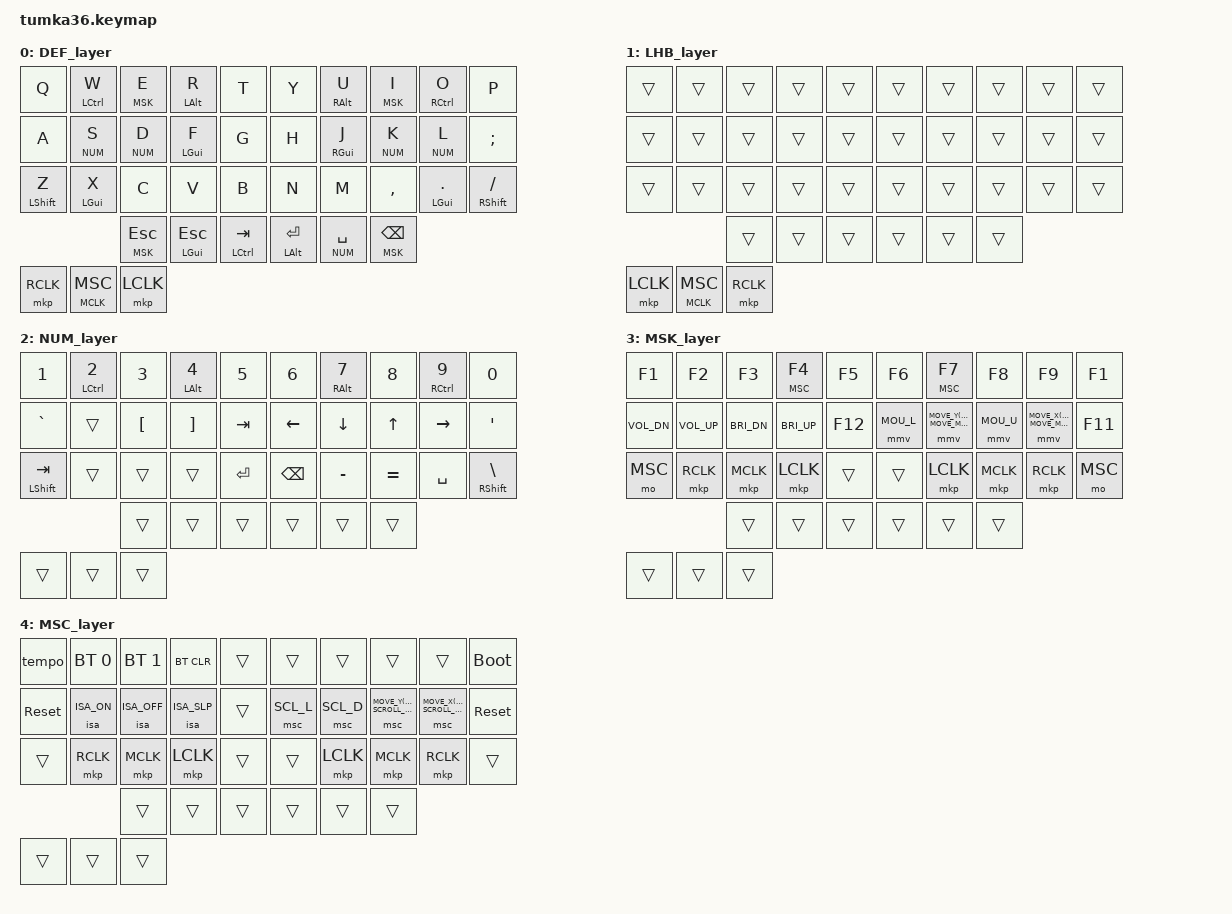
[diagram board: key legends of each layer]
/*
 * Copyright (c) 2020 The ZMK Contributors
 *
 * SPDX-License-Identifier: MIT
 */

#include <zephyr/dt-bindings/input/input-event-codes.h>

#include <behaviors.dtsi>
#include <behaviors/mouse_keys.dtsi>
#include <behaviors/mouse_key_press.dtsi>
#include <behaviors/mouse_key_toggle.dtsi>
#include <dt-bindings/zmk/keys.h>
#include <dt-bindings/zmk/bt.h>
#include <dt-bindings/zmk/rgb.h>
#include <dt-bindings/zmk/ext_power.h>
#include <dt-bindings/zmk/outputs.h>
#include <dt-bindings/zmk/mouse.h>
#include <dt-bindings/zmk/input_transform.h>

#include <behaviors/tempo.dtsi>
#include <behaviors/insomnia.dtsi>
#include <dt-bindings/zmk/insomnia.h>

#define DEF 0
#define LHB 1
#define NUM 2
#define MSK 3
#define MSC 4

#ifndef MOVE_Y
#define MOVE_Y(n) (0)
#endif
#ifndef MOVE_X
#define MOVE_X(n) (0)
#endif

#define U_MOUSE_MOVE_MAX 1700
#define MOU_U MOVE_Y(-U_MOUSE_MOVE_MAX)
#define MOU_D MOVE_Y(U_MOUSE_MOVE_MAX)
#define MOU_L MOVE_X(-U_MOUSE_MOVE_MAX)
#define MOU_R MOVE_X(U_MOUSE_MOVE_MAX)

#define U_MOUSE_SCROLL_MAX 20
#define SCL_U MOVE_Y(U_MOUSE_SCROLL_MAX)
#define SCL_D MOVE_Y(-U_MOUSE_SCROLL_MAX)
#define SCL_L MOVE_X(-U_MOUSE_SCROLL_MAX)
#define SCL_R MOVE_X(U_MOUSE_SCROLL_MAX)

/ {
        //   0   1   2   3   4     5   6   7   8   9
        //  10  11  12  13  14    15  16  17  18  19
        //  20  21  22  23  24    25  26  27  28  29
        //          30  31  32    33  34  35
        //  36 37 38
        combos {
                compatible = "zmk,combos";

                q   { timeout-ms = <80>; key-positions = <1 2>; bindings = <&kp Q>; layers = <DEF LHB>; };
                t   { timeout-ms = <70>; key-positions = <2 3>; bindings = <&kp T>; layers = <DEF LHB>; };
                g   { timeout-ms = <60>; key-positions = <12 13>; bindings = <&kp G>; layers = <DEF LHB>; };
                b   { timeout-ms = <60>; key-positions = <22 23>; bindings = <&kp B>; layers = <DEF LHB>; };
                b_d { timeout-ms = <70>; key-positions = <2 13>; bindings = <&kp B>; layers = <DEF LHB>; };
                b_v { timeout-ms = <60>; key-positions = <23 13>; bindings = <&kp B>; layers = <DEF LHB>; };
                t_v { timeout-ms = <60>; key-positions = <3 13>; bindings = <&kp T>; layers = <DEF LHB>; };

                z   { timeout-ms = <30>; key-positions = <10 31>; bindings = <&kp Z>; layers = <DEF LHB>; };
                x   { timeout-ms = <30>; key-positions = <11 31>; bindings = <&kp X>; layers = <DEF LHB>; };
                c   { timeout-ms = <30>; key-positions = <12 31>; bindings = <&kp C>; layers = <DEF LHB>; };
                v   { timeout-ms = <30>; key-positions = <13 31>; bindings = <&kp V>; layers = <DEF LHB>; };
                b_t { timeout-ms = <30>; key-positions = <13 32>; bindings = <&kp B>; layers = <DEF LHB>; };

                p   { timeout-ms = <80>; key-positions = <7 8>; bindings = <&kp P>; layers = <DEF LHB>; };
                y   { timeout-ms = <70>; key-positions = <6 7>; bindings = <&kp Y>; layers = <DEF LHB>; };
                h   { timeout-ms = <60>; key-positions = <16 17>; bindings = <&kp H>; layers = <DEF LHB>; };
                n   { timeout-ms = <60>; key-positions = <26 27>; bindings = <&kp N>; layers = <DEF LHB>; };
                n_d { timeout-ms = <70>; key-positions = <7 16>; bindings = <&kp N>; layers = <DEF LHB>; };
                n_v { timeout-ms = <60>; key-positions = <26 16>; bindings = <&kp N>; layers = <DEF LHB>; };
                y_v { timeout-ms = <60>; key-positions = <6 16>; bindings = <&kp Y>; layers = <DEF LHB>; };

                n_t   { timeout-ms = <30>; key-positions = <16 33>; bindings = <&kp N>; layers = <DEF LHB>; };
                m     { timeout-ms = <30>; key-positions = <16 34>; bindings = <&kp M>; layers = <DEF LHB>; };
                comma { timeout-ms = <30>; key-positions = <17 34>; bindings = <&kp COMMA>; layers = <DEF LHB>; };
                dot   { timeout-ms = <30>; key-positions = <18 34>; bindings = <&kp DOT>; layers = <DEF LHB>; };
                flash { timeout-ms = <30>; key-positions = <19 34>; bindings = <&kp FSLH>; layers = <DEF LHB>; };

                bksp { timeout-ms = <70>; key-positions = <17 18>; bindings = <&kp BKSP>; layers = <DEF LHB NUM>; };                
                esc  { timeout-ms = <70>; key-positions = <11 12>; bindings = <&kp ESC>; layers = <DEF LHB NUM>; };

                spcr { timeout-ms = <70>; key-positions = <27 28>; bindings = <&kp SPC>; layers = <DEF LHB NUM>; };
                tab  { timeout-ms = <70>; key-positions = <21 22>; bindings = <&kp TAB>; layers = <DEF LHB NUM>; };

                ret1  { timeout-ms = <30>; key-positions = <17 26>; bindings = <&kp RET>; layers = <DEF LHB NUM>; };
                ret2  { timeout-ms = <30>; key-positions = <12 23>; bindings = <&kp RET>; layers = <DEF LHB NUM>; };

                n1   { timeout-ms = <80>; key-positions = <1 2>; bindings = <&kp N1>; layers = <NUM>; };
                n5   { timeout-ms = <70>; key-positions = <2 3>; bindings = <&kp N5>; layers = <NUM>; };
                n5_v { timeout-ms = <60>; key-positions = <3 13>; bindings = <&kp N5>; layers = <NUM>; };
                
                n0   { timeout-ms = <80>; key-positions = <7 8>; bindings = <&kp N0>; layers = <NUM>; };
                n6   { timeout-ms = <70>; key-positions = <6 7>; bindings = <&kp N6>; layers = <NUM>; };
                n6_v { timeout-ms = <60>; key-positions = <6 16>; bindings = <&kp N6>; layers = <NUM>; };

                f1   { timeout-ms = <80>; key-positions = <1 2>; bindings = <&kp F1>; layers = <MSK>; };
                f5   { timeout-ms = <70>; key-positions = <2 3>; bindings = <&kp F5>; layers = <MSK>; };
                f5_v { timeout-ms = <60>; key-positions = <3 13>; bindings = <&kp F5>; layers = <MSK>; };

                f10  { timeout-ms = <80>; key-positions = <7 8>; bindings = <&kp F10>; layers = <MSK>; };
                f6   { timeout-ms = <70>; key-positions = <6 7>; bindings = <&kp F6>; layers = <MSK>; };
                f6_v { timeout-ms = <60>; key-positions = <6 16>; bindings = <&kp F6>; layers = <MSK>; };

                f11  { timeout-ms = <90>; key-positions = <6 7 8>; bindings = <&kp F11>; layers = <MSK>; };
                f12  { timeout-ms = <90>; key-positions = <1 2 3>; bindings = <&kp F12>; layers = <MSK>; };

                mkp_swap { timeout-ms = <60>; key-positions = <36 38>; bindings = <&tog LHB>; layers = <DEF LHB NUM MSK MSC>; };

                nav_left { timeout-ms = <80>; key-positions = <16 17>; bindings = <&kp LEFT>; layers = <NUM>; };
                mmv_left { timeout-ms = <80>; key-positions = <16 17>; bindings = <&mmv MOU_L>; layers = <MSK>; };
                msc_left { timeout-ms = <80>; key-positions = <16 17>; bindings = <&msc SCL_L>; layers = <MSC>; };

                dfu_l { timeout-ms = <80>; key-positions = <0 1>; bindings = <&bootloader>; layers = <MSC>; };
        };

        behaviors {
                hm_l: homerow_mods_left {
                        compatible = "zmk,behavior-hold-tap"; #binding-cells = <2>;
                        tapping-term-ms = <200>; quick-tap-ms = <200>;
                        flavor = "tap-preferred"; bindings = <&kp>, <&kp>;
                };
                hm_r: homerow_mods_right {
                        compatible = "zmk,behavior-hold-tap"; #binding-cells = <2>;
                        tapping-term-ms = <200>; quick-tap-ms = <200>;
                        flavor = "tap-preferred"; bindings = <&kp>, <&kp>;
                };
                hl_l: homerow_layers_left {
                        compatible = "zmk,behavior-hold-tap"; #binding-cells = <2>;
                        tapping-term-ms = <200>; quick-tap-ms = <200>;
                        flavor = "tap-preferred"; bindings = <&mo>, <&kp>;
                };
                hl_r: homerow_layers_right {
                        compatible = "zmk,behavior-hold-tap"; #binding-cells = <2>;
                        tapping-term-ms = <200>; quick-tap-ms = <200>;
                        flavor = "tap-preferred"; bindings = <&mo>, <&kp>;
                };
                hmkp_tg: hold_mouse_key_press_tap_toggle {
                        compatible = "zmk,behavior-hold-tap"; #binding-cells = <2>;
                        tapping-term-ms = <200>; quick-tap-ms = <200>;
                        flavor = "tap-preferred"; bindings = <&mkp>, <&tog>;
                };
                // rot_enc: sensor_rotate {
                //         compatible = "zmk,behavior-sensor-rotate";
                //         #sensor-binding-cells = <0>;
                //         bindings = <&msc SCL_D>, <&msc SCL_U>;
                //         tap-ms = <120>;
                // };
        };

        keymap {
                compatible = "zmk,keymap";
                DEF_layer {
// +------------------------------------------------------+     +--------------------------------------------------------+
// |     Q    |  LCTRL:W |  _MSK:E  |  LALT:R  |     T    |     |     Y     |  RALT:U  |  _MSK:I   |  RCTRL:O |     P    |
// |     A    |  _NUM:S  |  _NUM:D  |  LGUI:F  |     G    |     |     H     |  RGUI:J  |  _NUM:K   |  _NUM:L  |     ;:   |
// |  SHFT Z  |  LGUI:X  |     C    |     V    |     B    |     |     N     |     M    |    ,<     |  LGUI:.> |  SHFT /? |
//                       | ^MSK:ESC |  GUI:ESC | CTRL:TAB |     |  ALT:ENT  | _NUM:SPC | ^MSK:BKSP |
                        bindings = <
   &kp Q          &hm_l LCTRL W   &hl_l MSK E    &hm_l LALT R    &kp T               &kp Y           &hm_r RALT U     &hl_r MSK I     &hm_r RCTRL O   &kp P
   &kp A          &hl_l NUM S     &hl_l NUM D    &hm_l LGUI F    &kp G               &kp H           &hm_r RGUI J     &hl_r NUM K     &hl_r NUM L     &kp SEMI
   &mt LSHFT Z    &hm_l LGUI X    &kp C          &kp V           &kp B               &kp N           &kp M            &kp COMMA       &hm_r LGUI DOT  &mt RSHFT FSLH
                                  &lt MSK ESC    &mt LGUI ESC    &mt LCTRL TAB       &mt LALT RET    &lt NUM SPACE    &lt MSK BKSP
   &mkp RCLK   &hmkp_tg MCLK MSC   &mkp LCLK
                        >;
                        // sensor-bindings = <&rot_enc>;
                };
                LHB_layer {
                        bindings = <
   &trans  &trans  &trans  &trans  &trans    &trans  &trans  &trans  &trans  &trans
   &trans  &trans  &trans  &trans  &trans    &trans  &trans  &trans  &trans  &trans
   &trans  &trans  &trans  &trans  &trans    &trans  &trans  &trans  &trans  &trans
                   &trans  &trans  &trans    &trans  &trans  &trans
   &mkp LCLK   &hmkp_tg MCLK MSC   &mkp RCLK
                        >;
                        // sensor-bindings = <&rot_enc>;
                };
                NUM_layer {
// +------------------------------------------------------+     +-------------------------------------------------------+
// |    1!    | LCTRL:2@  |    3#    | LALT:4$  |    5%   |     |    6^    |  RALT:7& |    8&    |  RCTRL 9( |    0)    |
// |    `~    |           |    {[    |    ]}    |   TAB   |     |    LFT   |   DWN    |    UP    |    RGT    |    '"    |
// | SHFT TAB |           |          |          |   RET   |     |   BKSP   |    -_    |    =+    |    SPC    |  SHFT \| |
//                        |          |          |         |     |          |    (H)   |          |
                        bindings = <
   &kp N1             &hm_l LCTRL N2   &kp N3     &hm_l LALT N4   &kp N5              &kp N6      &hm_r RALT N7   &kp N8      &hm_r RCTRL N9   &kp N0
   &kp GRAVE          &trans           &kp LBKT   &kp RBKT        &kp TAB             &kp LEFT    &kp DOWN        &kp UP      &kp RIGHT        &kp SQT
   &mt LSHFT TAB      &trans           &trans     &trans          &kp RET             &kp BKSP    &kp MINUS       &kp EQUAL   &kp SPACE        &mt RSHFT BSLH
                                       &trans     &trans          &trans              &trans      &trans          &trans
   &trans   &trans   &trans
                        >;
                };
                MSK_layer {
// +------------------------------------------------------+     +------------------------------------------------------+
// |    F1    |    F2    |  (H) F3  |  _MSC:F4 |    F5    |     |    F6    |  _MSC:F7 |  (H) F8  |    F9    |   F10    |
// |   VOLD   |   VOLU   |   BRID   |   BRIU   |   F12    |     |   MLFT   |   MDWN   |    MUP   |   MRGT   |   F11    |
// |   _MSC   |   RCLK   |   MCLK   |   LCLK   |          |     |          |   LCLK   |   MCLK   |   RCLK   |  _MSC    |
//                       |   (H)    |          |          |     |          |          |    (H)   |
                        bindings = <
   &kp F1        &kp F2        &kp F3        &lt MSC F4    &kp F5            &kp F6      &lt MSC F7  &kp F8      &kp F9      &kp F1
   &kp C_VOL_DN  &kp C_VOL_UP  &kp C_BRI_DN  &kp C_BRI_UP  &kp F12           &mmv MOU_L  &mmv MOU_D  &mmv MOU_U  &mmv MOU_R  &kp F11
   &mo MSC       &mkp RCLK     &mkp MCLK     &mkp LCLK     &trans            &trans      &mkp LCLK   &mkp MCLK   &mkp RCLK   &mo MSC
                               &trans        &trans        &trans            &trans      &trans      &trans
   &trans   &trans   &trans
                        >;
                };
                MSC_layer {
// +------------------------------------------------------+     +------------------------------------------------------+
// |   TEMPO  |   BT_0   | (H) BT_1 | (H) BT_C |          |     |          |    (H)   |    (H)   |          |    DFU   |
// |   RESET  |  ISA_ON  |  ISA_OFF |  ISA_SLP |          |     |   SLFT   |   SDWN   |    SUP   |   SRGT   |   RESET  |
// |    (H)   |   RCLK   |   MCLK   |   LCLK   |          |     |          |   LCLK   |   MCLK   |   RCLK   |    (H)   |
//                       |   (H)    |          |          |     |          |          |    (H)   |
                        bindings = <
   &tempo      &bt BT_SEL 0  &bt BT_SEL 1  &bt BT_CLR    &trans            &trans       &trans        &trans      &trans        &bootloader
   &sys_reset  &isa ISA_ON   &isa ISA_OFF  &isa ISA_SLP  &trans            &msc SCL_L   &msc SCL_D    &msc SCL_U  &msc SCL_R    &sys_reset
   &trans      &mkp RCLK     &mkp MCLK     &mkp LCLK     &trans            &trans       &mkp LCLK     &mkp MCLK   &mkp RCLK     &trans
                             &trans        &trans        &trans            &trans       &trans        &trans
   &trans   &trans   &trans
                        >;
                };
       };
};
